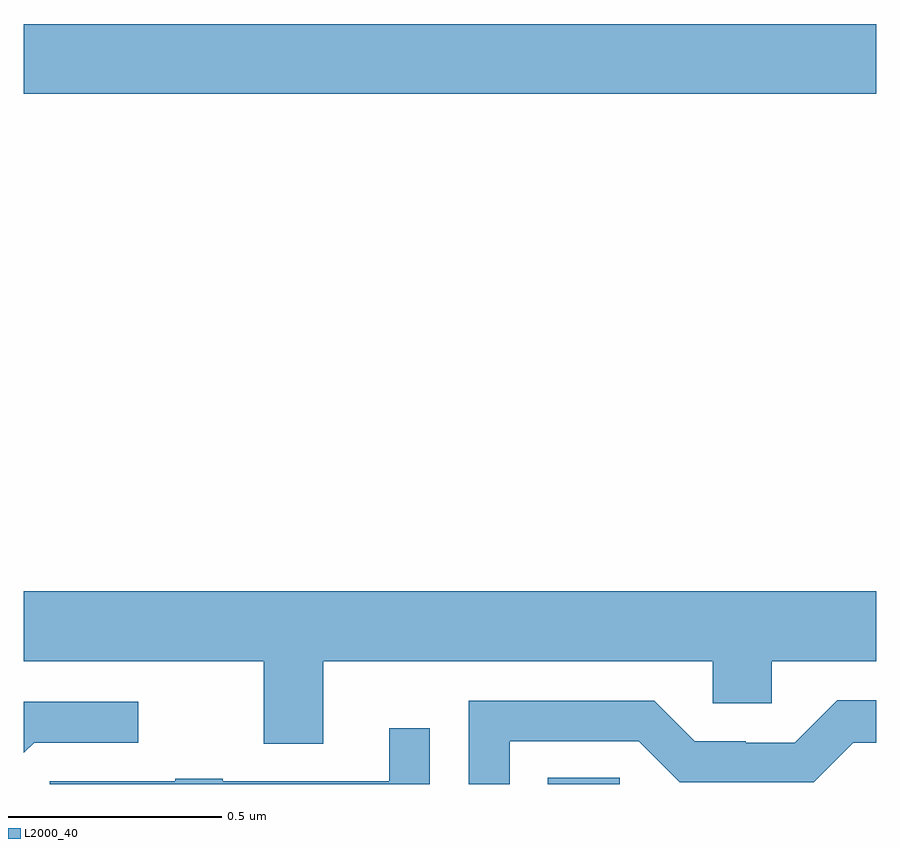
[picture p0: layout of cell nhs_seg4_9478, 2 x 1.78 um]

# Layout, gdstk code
import gdstk
lib = gdstk.Library(unit=1e-6, precision=1e-09)
def R(c, l, rs):  # rectangles x0, y0, x1, y1
    for r in rs: c.add(gdstk.rectangle(r[:2], r[2:], *l))
def P(c, l, *ps):  # polygons
    for p in ps: c.add(gdstk.Polygon(p, *l))
L2000_40 = (2000, 40)

nhs_seg4_9478 = lib.new_cell('nhs_seg4_9478')
R(nhs_seg4_9478, L2000_40, [(229.23,761.9,229.399,761.915), (228,763.52,230,763.684)])
P(nhs_seg4_9478, L2000_40, [(228.703,762.188),(229.617,762.188),(229.617,762.09),(229.755,762.09),(229.755,762.188),(230,762.188),(230,762.352),(228,762.352),(228,762.188),(228.563,762.188),(228.563,761.994),(228.703,761.994)],
  [(229.14,762),(229.443,762),(229.539,761.904),(229.854,761.904),(229.947,761.997),(230,761.997),(230,762.097),(229.909,762.097),(229.809,761.997),(229.694,761.997),(229.694,762),(229.575,762),(229.479,762.096),(229.044,762.096),(229.044,761.9),(229.14,761.9)],
  [(228.024,761.997),(228.268,761.997),(228.268,762.093),(228,762.093),(228,761.973)],
  [(228.953,762.031),(228.857,762.031),(228.857,761.907),(228.467,761.907),(228.467,761.912),(228.355,761.912),(228.355,761.907),(228.06,761.907),(228.06,761.9),(228.953,761.9)])

lib.write_gds('nhs_seg4_9478.gds')
